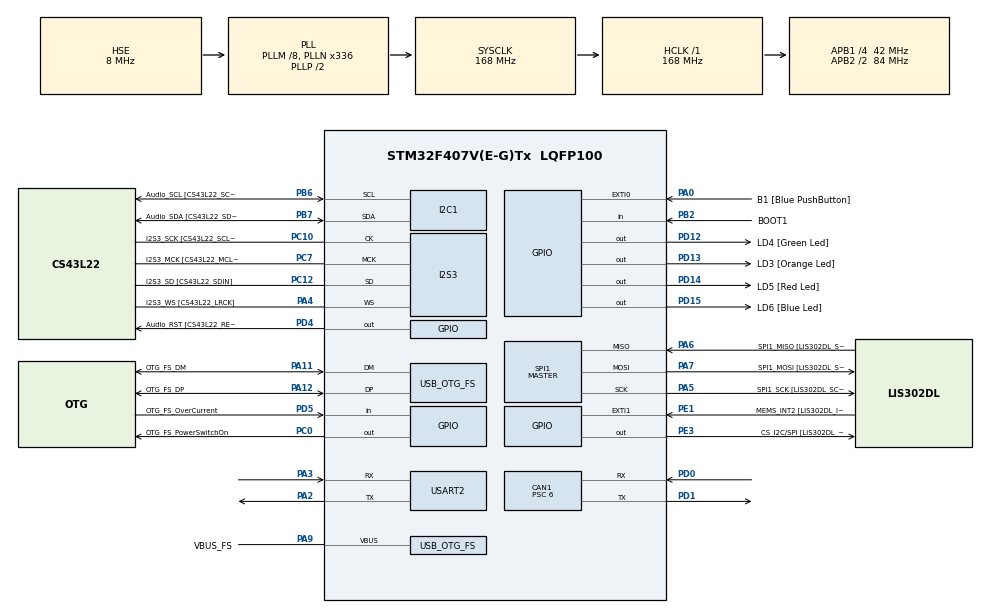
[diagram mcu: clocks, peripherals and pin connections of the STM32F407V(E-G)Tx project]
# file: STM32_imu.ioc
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CAN1.BS1=CAN_BS1_11TQ
CAN1.BS2=CAN_BS2_2TQ
CAN1.CalculateBaudRate=500000
CAN1.CalculateTimeBit=2000
CAN1.CalculateTimeQuantum=142.85714285714286
CAN1.Prescaler=6
I2S3.AudioFreq-Half_Duplex_Master=I2S_AUDIOFREQ_96K
I2S3.ErrorAudioFreq=-2.34 %
I2S3.ErrorAudioFreq-Half_Duplex_Master=0.8 %
I2S3.FullDuplexMode=I2S_FULLDUPLEXMODE_DISABLE
I2S3.Instance=SPI$Index
I2S3.RealAudioFreq=93.75 KHz
I2S3.RealAudioFreq-Half_Duplex_Master=96.774 KHz
I2S3.VirtualMode=I2S_MODE_MASTER
Mcu.Family=STM32F4
Mcu.Name=STM32F407V(E-G)Tx
Mcu.Package=LQFP100
NVIC.CAN1_RX0_IRQn=true\:0\:0\:false\:false\:true\:true\:true\:true
NVIC.OTG_FS_IRQn=true\:0\:0\:false\:false\:true\:true\:true\:true
NVIC.PriorityGroup=NVIC_PRIORITYGROUP_0
NVIC.USART2_IRQn=true\:0\:0\:false\:false\:true\:true\:true\:true
PA0-WKUP.GPIO_Label=B1 [Blue PushButton]
PA0-WKUP.GPIO_ModeDefaultEXTI=GPIO_MODE_EVT_RISING
PA0-WKUP.GPIO_PuPd=GPIO_NOPULL
PA0-WKUP.Signal=GPXTI0
PA10.GPIO_Label=OTG_FS_ID
PA10.GPIO_Mode=GPIO_MODE_AF_PP
PA10.GPIO_PuPd=GPIO_NOPULL
PA10.GPIO_Speed=GPIO_SPEED_FREQ_LOW
PA10.Signal=USB_OTG_FS_ID
PA11.GPIO_Label=OTG_FS_DM
PA11.GPIO_Mode=GPIO_MODE_AF_PP
PA11.GPIO_PuPd=GPIO_NOPULL
PA11.GPIO_Speed=GPIO_SPEED_FREQ_LOW
PA11.Mode=Host_Only
PA11.Signal=USB_OTG_FS_DM
PA12.GPIO_Label=OTG_FS_DP
PA12.GPIO_Mode=GPIO_MODE_AF_PP
PA12.GPIO_PuPd=GPIO_NOPULL
PA12.GPIO_Speed=GPIO_SPEED_FREQ_LOW
PA12.Mode=Host_Only
PA12.Signal=USB_OTG_FS_DP
PA13.GPIO_Label=SWDIO
PA13.Mode=Serial_Wire
PA13.Signal=SYS_JTMS-SWDIO
PA14.GPIO_Label=SWCLK
PA14.Mode=Serial_Wire
PA14.Signal=SYS_JTCK-SWCLK
PA2.Mode=Asynchronous
PA2.Signal=USART2_TX
PA3.Mode=Asynchronous
PA3.Signal=USART2_RX
PA4.GPIO_Label=I2S3_WS [CS43L22_LRCK]
PA4.GPIO_Mode=GPIO_MODE_AF_PP
PA4.GPIO_PuPd=GPIO_NOPULL
PA4.GPIO_Speed=GPIO_SPEED_FREQ_LOW
PA4.Mode=Half_Duplex_Master
PA4.Signal=I2S3_WS
PA5.GPIO_Label=SPI1_SCK [LIS302DL_SCL/SPC]
PA5.GPIO_Mode=GPIO_MODE_AF_PP
PA5.GPIO_PuPd=GPIO_NOPULL
PA5.GPIO_Speed=GPIO_SPEED_FREQ_LOW
PA5.Mode=Full_Duplex_Master
PA5.Signal=SPI1_SCK
PA6.GPIO_Label=SPI1_MISO [LIS302DL_SDO]
PA6.GPIO_Mode=GPIO_MODE_AF_PP
PA6.GPIO_PuPd=GPIO_NOPULL
PA6.GPIO_Speed=GPIO_SPEED_FREQ_LOW
PA6.Mode=Full_Duplex_Master
PA6.Signal=SPI1_MISO
PA7.GPIO_Label=SPI1_MOSI [LIS302DL_SDA/SDI/SDO]
PA7.GPIO_Mode=GPIO_MODE_AF_PP
PA7.GPIO_PuPd=GPIO_NOPULL
PA7.GPIO_Speed=GPIO_SPEED_FREQ_LOW
PA7.Mode=Full_Duplex_Master
PA7.Signal=SPI1_MOSI
PA9.GPIO_Label=VBUS_FS
PA9.GPIO_Mode=GPIO_MODE_INPUT
PA9.GPIO_PuPd=GPIO_NOPULL
PA9.Mode=Activate_VBUS
PA9.Signal=USB_OTG_FS_VBUS
PB10.GPIO_Label=CLK_IN [MP45DT02_CLK]
PB10.GPIO_Mode=GPIO_MODE_AF_PP
PB10.GPIO_PuPd=GPIO_NOPULL
PB10.GPIO_Speed=GPIO_SPEED_FREQ_LOW
PB10.Signal=I2S2_CK
PB2.GPIO_Label=BOOT1
PB2.GPIO_Mode=GPIO_MODE_INPUT
PB2.GPIO_PuPd=GPIO_NOPULL
PB2.Signal=GPIO_Input
PB3.GPIO_Label=SWO
PB3.Signal=SYS_JTDO-SWO
PB6.GPIO_Label=Audio_SCL [CS43L22_SCL]
PB6.GPIO_Mode=GPIO_MODE_AF_OD
PB6.GPIO_Pu=GPIO_PULLUP
PB6.GPIO_PuPd=GPIO_NOPULL
PB6.GPIO_Speed=GPIO_SPEED_FREQ_LOW
PB6.Mode=I2C
PB6.Signal=I2C1_SCL
PB7.GPIO_Label=Audio_SDA [CS43L22_SDA]
PB7.GPIO_Mode=GPIO_MODE_AF_OD
PB7.GPIO_Pu=GPIO_PULLUP
PB7.GPIO_Speed=GPIO_SPEED_FREQ_LOW
PB7.Mode=I2C
PB7.Signal=I2C1_SDA
PC0.GPIO_Label=OTG_FS_PowerSwitchOn
PC0.GPIO_PuPd=GPIO_NOPULL
PC0.GPIO_Speed=GPIO_SPEED_FREQ_LOW
PC0.PinState=GPIO_PIN_SET
PC0.Signal=GPIO_Output
PC10.GPIO_Label=I2S3_SCK [CS43L22_SCLK]
PC10.GPIO_Mode=GPIO_MODE_AF_PP
PC10.GPIO_PuPd=GPIO_NOPULL
PC10.GPIO_Speed=GPIO_SPEED_FREQ_LOW
PC10.Mode=Half_Duplex_Master
PC10.Signal=I2S3_CK
PC12.GPIO_Label=I2S3_SD [CS43L22_SDIN]
PC12.GPIO_Mode=GPIO_MODE_AF_PP
PC12.GPIO_PuPd=GPIO_NOPULL
PC12.GPIO_Speed=GPIO_SPEED_FREQ_LOW
PC12.Mode=Half_Duplex_Master
PC12.Signal=I2S3_SD
PC14-OSC32_IN.GPIO_Label=PC14-OSC32_IN
PC14-OSC32_IN.Mode=LSE-External-Oscillator
PC14-OSC32_IN.Signal=RCC_OSC32_IN
PC15-OSC32_OUT.GPIO_Label=PC15-OSC32_OUT
PC15-OSC32_OUT.Mode=LSE-External-Oscillator
PC15-OSC32_OUT.Signal=RCC_OSC32_OUT
PC3.GPIO_Label=PDM_OUT [MP45DT02_DOUT]
PC3.GPIO_Mode=GPIO_MODE_AF_PP
PC3.GPIO_PuPd=GPIO_NOPULL
PC3.GPIO_Speed=GPIO_SPEED_FREQ_LOW
PC3.Signal=I2S2_SD
PC7.GPIO_Label=I2S3_MCK [CS43L22_MCLK]
PC7.GPIO_Mode=GPIO_MODE_AF_PP
PC7.GPIO_PuPd=GPIO_NOPULL
PC7.GPIO_Speed=GPIO_SPEED_FREQ_LOW
PC7.Mode=Master_Clock_Activated
PC7.Signal=I2S3_MCK
PD0.Mode=CAN_Activate
PD0.Signal=CAN1_RX
PD1.Mode=CAN_Activate
PD1.Signal=CAN1_TX
PD12.GPIO_Label=LD4 [Green Led]
PD12.GPIO_PuPd=GPIO_NOPULL
PD12.GPIO_Speed=GPIO_SPEED_FREQ_LOW
PD12.Signal=GPIO_Output
PD13.GPIO_Label=LD3 [Orange Led]
PD13.GPIO_PuPd=GPIO_NOPULL
PD13.GPIO_Speed=GPIO_SPEED_FREQ_LOW
PD13.Signal=GPIO_Output
PD14.GPIO_Label=LD5 [Red Led]
PD14.GPIO_PuPd=GPIO_NOPULL
PD14.GPIO_Speed=GPIO_SPEED_FREQ_LOW
PD14.Signal=GPIO_Output
PD15.GPIO_Label=LD6 [Blue Led]
PD15.GPIO_PuPd=GPIO_NOPULL
PD15.GPIO_Speed=GPIO_SPEED_FREQ_LOW
PD15.Signal=GPIO_Output
PD4.GPIO_Label=Audio_RST [CS43L22_RESET]
PD4.GPIO_PuPd=GPIO_NOPULL
PD4.GPIO_Speed=GPIO_SPEED_FREQ_LOW
PD4.Signal=GPIO_Output
PD5.GPIO_Label=OTG_FS_OverCurrent
PD5.GPIO_Mode=GPIO_MODE_INPUT
PD5.GPIO_PuPd=GPIO_NOPULL
PD5.Signal=GPIO_Input
PE1.GPIO_Label=MEMS_INT2 [LIS302DL_INT2]
PE1.GPIO_ModeDefaultEXTI=GPIO_MODE_EVT_RISING
PE1.GPIO_PuPd=GPIO_NOPULL
PE1.Signal=GPXTI1
PE3.GPIO_Label=CS_I2C/SPI [LIS302DL_CS_I2C/SPI]
PE3.GPIO_PuPd=GPIO_NOPULL
PE3.GPIO_Speed=GPIO_SPEED_FREQ_LOW
PE3.Signal=GPIO_Output
PH0-OSC_IN.GPIO_Label=PH0-OSC_IN
PH0-OSC_IN.Mode=HSE-External-Oscillator
PH0-OSC_IN.Signal=RCC_OSC_IN
PH1-OSC_OUT.GPIO_Label=PH1-OSC_OUT
PH1-OSC_OUT.Mode=HSE-External-Oscillator
PH1-OSC_OUT.Signal=RCC_OSC_OUT
ProjectManager.HeapSize=0x200
ProjectManager.StackSize=0x400
ProjectManager.TargetToolchain=STM32CubeIDE
RCC.48MHZClocksFreq_Value=48000000
RCC.AHBFreq_Value=168000000
RCC.APB1CLKDivider=RCC_HCLK_DIV4
RCC.APB1Freq_Value=42000000
RCC.APB1TimFreq_Value=84000000
RCC.APB2CLKDivider=RCC_HCLK_DIV2
RCC.APB2Freq_Value=84000000
RCC.APB2TimFreq_Value=168000000
RCC.CortexFreq_Value=168000000
RCC.HCLKFreq_Value=168000000
RCC.HSE_VALUE=8000000
RCC.HSI_VALUE=16000000
RCC.PLLM=8
RCC.PLLN=336
RCC.PLLQ=7
RCC.SYSCLKFreq_VALUE=168000000
RCC.SYSCLKSource=RCC_SYSCLKSOURCE_PLLCLK
RCC.VCOOutputFreq_Value=336000000
SPI1.BaudRatePrescaler-Full_Duplex_Master=SPI_BAUDRATEPRESCALER_2
SPI1.CalculateBaudRate-Full_Duplex_Master=42.0 MBits/s
SPI1.Direction=SPI_DIRECTION_2LINES
SPI1.Mode=SPI_MODE_MASTER
SPI1.Mode-Full_Duplex_Master=SPI_MODE_MASTER
SPI1.VirtualType=VM_MASTER
USART2.VirtualMode=VM_ASYNC
USB_HOST.BSP.number=1
USB_HOST.USBH_HandleTypeDef-CDC_FS=hUsbHostFS
USB_HOST.VirtualModeFS=Cdc
USB_HOST0.BSP.STBoard=false
USB_HOST0.BSP.api=Unknown
USB_HOST0.BSP.instance=PC0
USB_HOST0.BSP.ip=GPIO
USB_HOST0.BSP.mode=Output
USB_HOST0.BSP.name=Drive_VBUS_FS
USB_HOST0.BSP.solution=PC0
USB_OTG_FS.VirtualMode=Host_Only
USB_OTG_FS.phy_itface=HCD_PHY_EMBEDDED
VP_USB_HOST_VS_USB_HOST_CDC_FS.Mode=CDC_FS
board=STM32F407G-DISC1

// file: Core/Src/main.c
/* USER CODE BEGIN Header */
/**
  ******************************************************************************
  * @file           : main.c
  * @brief          : Main program body
  ******************************************************************************
  * @attention
  *
  * Copyright (c) 2025 STMicroelectronics.
  * All rights reserved.
  *
  * This software is licensed under terms that can be found in the LICENSE file
  * in the root directory of this software component.
  * If no LICENSE file comes with this software, it is provided AS-IS.
  *
  ******************************************************************************
  */
/* USER CODE END Header */
#include "main.h"
#include "usb_host.h"

/* USER CODE BEGIN Includes */
#include <string.h>
#include "bno055_stm32.h"
/* USER CODE END Includes */

CAN_HandleTypeDef hcan1;

I2C_HandleTypeDef hi2c1;

I2S_HandleTypeDef hi2s3;

SPI_HandleTypeDef hspi1;

UART_HandleTypeDef huart2;

/* USER CODE BEGIN PV */
// ---- BNO055 ----
BNO055_HandleTypeDef hBNO055;
float imu_heading_deg = 0.0f;  // yaw/heading
float imu_roll_deg    = 0.0f;
float imu_pitch_deg   = 0.0f;

// ---- CAN TX ----
static CAN_TxHeaderTypeDef txh;
static uint8_t txData[8];
static uint32_t txMailbox;
static uint8_t seq = 0;
/* USER CODE END PV */

void SystemClock_Config(void);
static void MX_GPIO_Init(void);
static void MX_I2C1_Init(void);
static void MX_I2S3_Init(void);
static void MX_SPI1_Init(void);
static void MX_CAN1_Init(void);
static void MX_USART2_UART_Init(void);
void MX_USB_HOST_Process(void);

/* USER CODE BEGIN 0 */
static void CAN1_TxInit(void)
{
  txh.StdId = 0x103;        // IMU_RPY
  txh.IDE   = CAN_ID_STD;
  txh.RTR   = CAN_RTR_DATA;
  txh.DLC   = 8;
  memset(txData, 0, sizeof(txData));
}

static void CAN1_SendRPY(float roll_deg, float pitch_deg, float yaw_deg, uint8_t status)
{
  // deg * 100 -> int16
  int16_t r = (int16_t)(roll_deg  * 100.0f);
  int16_t p = (int16_t)(pitch_deg * 100.0f);
  int16_t y = (int16_t)(yaw_deg   * 100.0f);

  txData[0] = (uint8_t)(r >> 8); txData[1] = (uint8_t)(r);
  txData[2] = (uint8_t)(p >> 8); txData[3] = (uint8_t)(p);
  txData[4] = (uint8_t)(y >> 8); txData[5] = (uint8_t)(y);
  txData[6] = seq++;
  txData[7] = status;

  // ✅ 1) 메일박스 여유 확인 (없으면 이번 프레임 드랍)
  if (HAL_CAN_GetTxMailboxesFreeLevel(&hcan1) == 0) {
    // (선택) LD5(빨강, PD14) 토글로 "TX 밀림" 표시
    HAL_GPIO_TogglePin(GPIOD, LD5_Pin);
    return;
  }

  // ✅ 2) AddTxMessage 성공/실패 체크
  if (HAL_CAN_AddTxMessage(&hcan1, &txh, txData, &txMailbox) != HAL_OK) {
    // (선택) LD5(빨강, PD14) ON으로 "TX 실패" 표시
    HAL_GPIO_WritePin(GPIOD, LD5_Pin, GPIO_PIN_SET);
  }
}
/* USER CODE END 0 */

int main(void)
{

  /* MCU Configuration--------------------------------------------------------*/

  /* Reset of all peripherals, Initializes the Flash interface and the Systick. */
  HAL_Init();

  /* Configure the system clock */
  SystemClock_Config();

  /* Initialize all configured peripherals */
  MX_GPIO_Init();
  MX_I2C1_Init();
  MX_I2S3_Init();
  MX_SPI1_Init();
  MX_USB_HOST_Init();
  MX_CAN1_Init();
  MX_USART2_UART_Init();
  /* USER CODE BEGIN 2 */
  // ---- BNO055 init ----
  hBNO055.hi2c    = &hi2c1;
  hBNO055.address = 0x28;   // 네 기존 코드 그대로(라이브러리 방식 유지)
  if (BNO055_Init(&hBNO055) != HAL_OK) {
    HAL_GPIO_WritePin(GPIOD, GPIO_PIN_15, 1); // fail LED
  } else {
    HAL_GPIO_WritePin(GPIOD, GPIO_PIN_14, 1); // ok LED
  }

  // ---- CAN start (송신 보드도 필수) ----
  CAN1_TxInit();
  if (HAL_CAN_Start(&hcan1) != HAL_OK) Error_Handler();
  // Start 후 노드는 버스에서 송/수신 가능 상태가 됨 :contentReference[oaicite:2]{index=2}
  /* USER CODE END 2 */

  /* Infinite loop */
  while (1)
  {
    MX_USB_HOST_Process();

    /* USER CODE BEGIN 3 */
    uint8_t status = 0;
    if (BNO055_ReadEuler(&hBNO055,
                         &imu_heading_deg,
                         &imu_roll_deg,
                         &imu_pitch_deg) == HAL_OK)
    {
        status = 0x00; // OK
        CAN1_SendRPY(imu_roll_deg, imu_pitch_deg, imu_heading_deg, status);
        // (선택) 10프레임마다 LD6(파랑, PD15) 토글로 "TX 살아있음"
        // if ((seq % 10) == 0) HAL_GPIO_TogglePin(GPIOD, LD6_Pin);
    } else {
    status = 0x01; // IMU read fail
    	// (선택) 실패도 상태만 보내서 수신에서 감지 가능하게
    	CAN1_SendRPY(0, 0, 0, status);
    }
    HAL_Delay(10); // 100Hz 예시 (원하면 20ms=50Hz)
  }
  /* USER CODE END 3 */
}

void SystemClock_Config(void)
{
  RCC_OscInitTypeDef RCC_OscInitStruct = {0};
  RCC_ClkInitTypeDef RCC_ClkInitStruct = {0};

  /** Configure the main internal regulator output voltage
  */
  __HAL_RCC_PWR_CLK_ENABLE();
  __HAL_PWR_VOLTAGESCALING_CONFIG(PWR_REGULATOR_VOLTAGE_SCALE1);

  /** Initializes the RCC Oscillators according to the specified parameters
  * in the RCC_OscInitTypeDef structure.
  */
  RCC_OscInitStruct.OscillatorType = RCC_OSCILLATORTYPE_HSE;
  RCC_OscInitStruct.HSEState = RCC_HSE_ON;
  RCC_OscInitStruct.PLL.PLLState = RCC_PLL_ON;
  RCC_OscInitStruct.PLL.PLLSource = RCC_PLLSOURCE_HSE;
  RCC_OscInitStruct.PLL.PLLM = 8;
  RCC_OscInitStruct.PLL.PLLN = 336;
  RCC_OscInitStruct.PLL.PLLP = RCC_PLLP_DIV2;
  RCC_OscInitStruct.PLL.PLLQ = 7;
  if (HAL_RCC_OscConfig(&RCC_OscInitStruct) != HAL_OK)
  {
    Error_Handler();
  }

  /** Initializes the CPU, AHB and APB buses clocks
  */
  RCC_ClkInitStruct.ClockType = RCC_CLOCKTYPE_HCLK|RCC_CLOCKTYPE_SYSCLK
                              |RCC_CLOCKTYPE_PCLK1|RCC_CLOCKTYPE_PCLK2;
  RCC_ClkInitStruct.SYSCLKSource = RCC_SYSCLKSOURCE_PLLCLK;
  RCC_ClkInitStruct.AHBCLKDivider = RCC_SYSCLK_DIV1;
  RCC_ClkInitStruct.APB1CLKDivider = RCC_HCLK_DIV4;
  RCC_ClkInitStruct.APB2CLKDivider = RCC_HCLK_DIV2;

  if (HAL_RCC_ClockConfig(&RCC_ClkInitStruct, FLASH_LATENCY_5) != HAL_OK)
  {
    Error_Handler();
  }
}

static void MX_CAN1_Init(void)
{

  hcan1.Instance = CAN1;
  hcan1.Init.Prescaler = 6;
  hcan1.Init.Mode = CAN_MODE_NORMAL;
  hcan1.Init.SyncJumpWidth = CAN_SJW_1TQ;
  hcan1.Init.TimeSeg1 = CAN_BS1_11TQ;
  hcan1.Init.TimeSeg2 = CAN_BS2_2TQ;
  hcan1.Init.TimeTriggeredMode = DISABLE;
  hcan1.Init.AutoBusOff = DISABLE;
  hcan1.Init.AutoWakeUp = DISABLE;
  hcan1.Init.AutoRetransmission = DISABLE;
  hcan1.Init.ReceiveFifoLocked = DISABLE;
  hcan1.Init.TransmitFifoPriority = DISABLE;
  if (HAL_CAN_Init(&hcan1) != HAL_OK)
  {
    Error_Handler();
  }

}

static void MX_I2C1_Init(void)
{

  hi2c1.Instance = I2C1;
  hi2c1.Init.ClockSpeed = 100000;
  hi2c1.Init.DutyCycle = I2C_DUTYCYCLE_2;
  hi2c1.Init.OwnAddress1 = 0;
  hi2c1.Init.AddressingMode = I2C_ADDRESSINGMODE_7BIT;
  hi2c1.Init.DualAddressMode = I2C_DUALADDRESS_DISABLE;
  hi2c1.Init.OwnAddress2 = 0;
  hi2c1.Init.GeneralCallMode = I2C_GENERALCALL_DISABLE;
  hi2c1.Init.NoStretchMode = I2C_NOSTRETCH_DISABLE;
  if (HAL_I2C_Init(&hi2c1) != HAL_OK)
  {
    Error_Handler();
  }

}

static void MX_I2S3_Init(void)
{

  hi2s3.Instance = SPI3;
  hi2s3.Init.Mode = I2S_MODE_MASTER_TX;
  hi2s3.Init.Standard = I2S_STANDARD_PHILIPS;
  hi2s3.Init.DataFormat = I2S_DATAFORMAT_16B;
  hi2s3.Init.MCLKOutput = I2S_MCLKOUTPUT_ENABLE;
  hi2s3.Init.AudioFreq = I2S_AUDIOFREQ_96K;
  hi2s3.Init.CPOL = I2S_CPOL_LOW;
  hi2s3.Init.ClockSource = I2S_CLOCK_PLL;
  hi2s3.Init.FullDuplexMode = I2S_FULLDUPLEXMODE_DISABLE;
  if (HAL_I2S_Init(&hi2s3) != HAL_OK)
  {
    Error_Handler();
  }

}

static void MX_SPI1_Init(void)
{

  /* SPI1 parameter configuration*/
  hspi1.Instance = SPI1;
  hspi1.Init.Mode = SPI_MODE_MASTER;
  hspi1.Init.Direction = SPI_DIRECTION_2LINES;
  hspi1.Init.DataSize = SPI_DATASIZE_8BIT;
  hspi1.Init.CLKPolarity = SPI_POLARITY_LOW;
  hspi1.Init.CLKPhase = SPI_PHASE_1EDGE;
  hspi1.Init.NSS = SPI_NSS_SOFT;
  hspi1.Init.BaudRatePrescaler = SPI_BAUDRATEPRESCALER_2;
  hspi1.Init.FirstBit = SPI_FIRSTBIT_MSB;
  hspi1.Init.TIMode = SPI_TIMODE_DISABLE;
  hspi1.Init.CRCCalculation = SPI_CRCCALCULATION_DISABLE;
  hspi1.Init.CRCPolynomial = 10;
  if (HAL_SPI_Init(&hspi1) != HAL_OK)
  {
    Error_Handler();
  }

}

static void MX_USART2_UART_Init(void)
{

  huart2.Instance = USART2;
  huart2.Init.BaudRate = 115200;
  huart2.Init.WordLength = UART_WORDLENGTH_8B;
  huart2.Init.StopBits = UART_STOPBITS_1;
  huart2.Init.Parity = UART_PARITY_NONE;
  huart2.Init.Mode = UART_MODE_TX_RX;
  huart2.Init.HwFlowCtl = UART_HWCONTROL_NONE;
  huart2.Init.OverSampling = UART_OVERSAMPLING_16;
  if (HAL_UART_Init(&huart2) != HAL_OK)
  {
    Error_Handler();
  }

}

static void MX_GPIO_Init(void)
{
  GPIO_InitTypeDef GPIO_InitStruct = {0};

  /* GPIO Ports Clock Enable */
  __HAL_RCC_GPIOE_CLK_ENABLE();
  __HAL_RCC_GPIOC_CLK_ENABLE();
  __HAL_RCC_GPIOH_CLK_ENABLE();
  __HAL_RCC_GPIOA_CLK_ENABLE();
  __HAL_RCC_GPIOB_CLK_ENABLE();
  __HAL_RCC_GPIOD_CLK_ENABLE();

  /*Configure GPIO pin Output Level */
  HAL_GPIO_WritePin(CS_I2C_SPI_GPIO_Port, CS_I2C_SPI_Pin, GPIO_PIN_RESET);

  /*Configure GPIO pin Output Level */
  HAL_GPIO_WritePin(OTG_FS_PowerSwitchOn_GPIO_Port, OTG_FS_PowerSwitchOn_Pin, GPIO_PIN_SET);

  /*Configure GPIO pin Output Level */
  HAL_GPIO_WritePin(GPIOD, LD4_Pin|LD3_Pin|LD5_Pin|LD6_Pin
                          |Audio_RST_Pin, GPIO_PIN_RESET);

  /*Configure GPIO pin : CS_I2C_SPI_Pin */
  GPIO_InitStruct.Pin = CS_I2C_SPI_Pin;
  GPIO_InitStruct.Mode = GPIO_MODE_OUTPUT_PP;
  GPIO_InitStruct.Pull = GPIO_NOPULL;
  GPIO_InitStruct.Speed = GPIO_SPEED_FREQ_LOW;
  HAL_GPIO_Init(CS_I2C_SPI_GPIO_Port, &GPIO_InitStruct);

  /*Configure GPIO pin : OTG_FS_PowerSwitchOn_Pin */
  GPIO_InitStruct.Pin = OTG_FS_PowerSwitchOn_Pin;
  GPIO_InitStruct.Mode = GPIO_MODE_OUTPUT_PP;
  GPIO_InitStruct.Pull = GPIO_NOPULL;
  GPIO_InitStruct.Speed = GPIO_SPEED_FREQ_LOW;
  HAL_GPIO_Init(OTG_FS_PowerSwitchOn_GPIO_Port, &GPIO_InitStruct);

  /*Configure GPIO pin : PDM_OUT_Pin */
  GPIO_InitStruct.Pin = PDM_OUT_Pin;
  GPIO_InitStruct.Mode = GPIO_MODE_AF_PP;
  GPIO_InitStruct.Pull = GPIO_NOPULL;
  GPIO_InitStruct.Speed = GPIO_SPEED_FREQ_LOW;
  GPIO_InitStruct.Alternate = GPIO_AF5_SPI2;
  HAL_GPIO_Init(PDM_OUT_GPIO_Port, &GPIO_InitStruct);

  /*Configure GPIO pin : B1_Pin */
  GPIO_InitStruct.Pin = B1_Pin;
  GPIO_InitStruct.Mode = GPIO_MODE_EVT_RISING;
  GPIO_InitStruct.Pull = GPIO_NOPULL;
  HAL_GPIO_Init(B1_GPIO_Port, &GPIO_InitStruct);

  /*Configure GPIO pin : BOOT1_Pin */
  GPIO_InitStruct.Pin = BOOT1_Pin;
  GPIO_InitStruct.Mode = GPIO_MODE_INPUT;
  GPIO_InitStruct.Pull = GPIO_NOPULL;
  HAL_GPIO_Init(BOOT1_GPIO_Port, &GPIO_InitStruct);

  /*Configure GPIO pin : CLK_IN_Pin */
  GPIO_InitStruct.Pin = CLK_IN_Pin;
  GPIO_InitStruct.Mode = GPIO_MODE_AF_PP;
  GPIO_InitStruct.Pull = GPIO_NOPULL;
  GPIO_InitStruct.Speed = GPIO_SPEED_FREQ_LOW;
  GPIO_InitStruct.Alternate = GPIO_AF5_SPI2;
  HAL_GPIO_Init(CLK_IN_GPIO_Port, &GPIO_InitStruct);

  /*Configure GPIO pins : LD4_Pin LD3_Pin LD5_Pin LD6_Pin
                           Audio_RST_Pin */
  GPIO_InitStruct.Pin = LD4_Pin|LD3_Pin|LD5_Pin|LD6_Pin
                          |Audio_RST_Pin;
  GPIO_InitStruct.Mode = GPIO_MODE_OUTPUT_PP;
  GPIO_InitStruct.Pull = GPIO_NOPULL;
  GPIO_InitStruct.Speed = GPIO_SPEED_FREQ_LOW;
  HAL_GPIO_Init(GPIOD, &GPIO_InitStruct);

  /*Configure GPIO pin : OTG_FS_OverCurrent_Pin */
  GPIO_InitStruct.Pin = OTG_FS_OverCurrent_Pin;
  GPIO_InitStruct.Mode = GPIO_MODE_INPUT;
  GPIO_InitStruct.Pull = GPIO_NOPULL;
  HAL_GPIO_Init(OTG_FS_OverCurrent_GPIO_Port, &GPIO_InitStruct);

  /*Configure GPIO pin : MEMS_INT2_Pin */
  GPIO_InitStruct.Pin = MEMS_INT2_Pin;
  GPIO_InitStruct.Mode = GPIO_MODE_EVT_RISING;
  GPIO_InitStruct.Pull = GPIO_NOPULL;
  HAL_GPIO_Init(MEMS_INT2_GPIO_Port, &GPIO_InitStruct);

}

void Error_Handler(void)
{
  __disable_irq();
  while (1)
  {
  }
}
